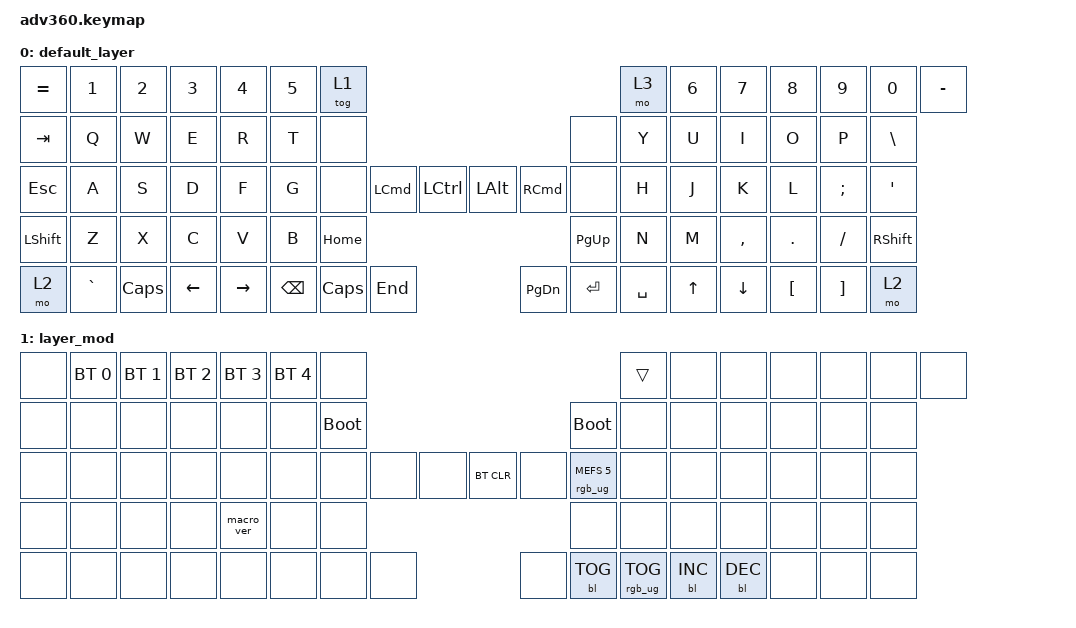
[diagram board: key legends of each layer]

/*
 * Copyright (c) 2020 The ZMK Contributors
 *
 * SPDX-License-Identifier: MIT
 */


/* THIS FILE WAS GENERATED!
 *
 * This file was generated automatically. You may or may not want to
 * edit it directly.
 */

#include <behaviors.dtsi>
#include <dt-bindings/zmk/keys.h>
#include <dt-bindings/zmk/bt.h>
#include <dt-bindings/zmk/rgb.h>
#include <dt-bindings/zmk/backlight.h>

#define HYP(key) LS(LC(LA(LG(key))))
#define HYPER    LS(LC(LA(LGUI)))

/ {
  behaviors {
    #include "macros.dtsi"
    #include "version.dtsi"

    hm: homerow_mods {
        compatible = "zmk,behavior-hold-tap";
        label = "HOMEROW_MODS";
        #binding-cells = <2>;
        tapping-term-ms = <200>;
        quick_tap_ms = <175>;
        flavor = "tap-preferred";
        bindings = <&kp>, <&kp>;
    };
  };

    keymap {
        compatible = "zmk,keymap";


        default_layer {
            bindings = <
 &kp EQUAL     &kp N1    &kp N2    &kp N3     &kp N4  &kp N5              &tog 1                                                                                           &mo 3  &kp N6  &kp N7     &kp N8    &kp N9    &kp N0  &kp MINUS
   &kp TAB      &kp Q     &kp W     &kp E      &kp R   &kp T               &none                                                                                           &none   &kp Y   &kp U      &kp I     &kp O     &kp P   &kp BSLH
   &kp ESC      &kp A     &kp S     &kp D      &kp F   &kp G               &none  &kp LEFT_COMMAND  &kp LEFT_CONTROL                     &kp LEFT_ALT  &kp RIGHT_COMMAND      &none   &kp H   &kp J      &kp K     &kp L  &kp SEMI    &kp SQT
 &kp LSHFT      &kp Z     &kp X     &kp C      &kp V   &kp B                                                &kp HOME                     &kp PG_UP                                 &kp N   &kp M  &kp COMMA   &kp DOT  &kp FSLH  &kp RSHFT
     &mo 2  &kp GRAVE  &kp CAPS  &kp LEFT  &kp RIGHT                    &kp BSPC           &kp CAPS         &kp END                      &kp PG_DN          &kp ENTER  &kp SPACE          &kp UP   &kp DOWN  &kp LBKT  &kp RBKT      &mo 2
            >;
        };

        layer_mod {
            bindings = <
  &none  &bt BT_SEL 0  &bt BT_SEL 1  &bt BT_SEL 2  &bt BT_SEL 3  &bt BT_SEL 4                  &none                                                                          &trans   &none       &none       &none   &none   &none   &none
  &none         &none         &none         &none         &none         &none            &bootloader                                                                     &bootloader   &none       &none       &none   &none   &none   &none
  &none         &none         &none         &none         &none         &none                  &none   &none   &none                  &bt BT_CLR       &none  &rgb_ug RGB_MEFS_CMD 5   &none       &none       &none   &none   &none   &none
  &none         &none         &none         &none    &macro_ver         &none                                  &none                       &none                                       &none       &none       &none   &none   &none   &none
  &none         &none         &none         &none         &none                                &none   &none   &none                       &none  &bl BL_TOG         &rgb_ug RGB_TOG          &bl BL_INC  &bl BL_DEC   &none   &none   &none
            >;
        };

    };
};
